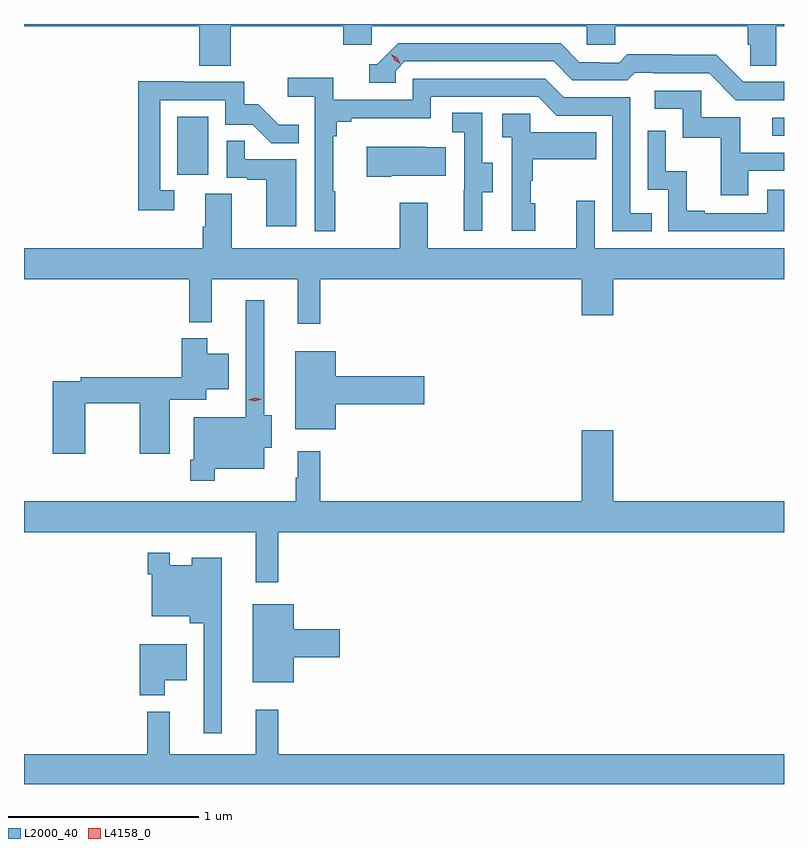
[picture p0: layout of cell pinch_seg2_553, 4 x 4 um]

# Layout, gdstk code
import gdstk
lib = gdstk.Library(unit=1e-6, precision=1e-09)
def R(c, l, rs):  # rectangles x0, y0, x1, y1
    for r in rs: c.add(gdstk.rectangle(r[:2], r[2:], *l))
def P(c, l, *ps):  # polygons
    for p in ps: c.add(gdstk.Polygon(p, *l))
L2000_40 = (2000, 40)
L4158_0 = (4158, 0)

pinch_seg2_553 = lib.new_cell('pinch_seg2_553')
R(pinch_seg2_553, L2000_40, [(1097.942,609.558,1098.106,609.865), (1101.075,609.765,1101.136,609.858)])
P(pinch_seg2_553, L2000_40, [(1098.224,610.34),(1098.815,610.34),(1098.815,610.242),(1098.966,610.242),(1098.966,610.34),(1100.097,610.34),(1100.097,610.242),(1100.247,610.242),(1100.247,610.34),(1100.945,610.34),(1100.945,610.242),(1100.959,610.242),(1100.959,610.132),(1101.096,610.132),(1101.096,610.34),(1101.136,610.34),(1101.136,610.352),(1097.136,610.352),(1097.136,610.34),(1098.059,610.34),(1098.059,610.132),(1098.224,610.132)],
  [(1101.136,610.047),(1100.922,610.047),(1100.78,610.189),(1100.544,610.189),(1100.544,610.192),(1100.311,610.192),(1100.269,610.149),(1100.166,610.149),(1100.166,610.152),(1100.059,610.152),(1099.96,610.251),(1099.107,610.251),(1098.996,610.14),(1098.953,610.14),(1098.953,610.044),(1099.092,610.044),(1099.092,610.107),(1099.14,610.155),(1099.923,610.155),(1100.022,610.056),(1100.311,610.056),(1100.35,610.095),(1100.449,610.095),(1100.449,610.092),(1100.742,610.092),(1100.883,609.951),(1101.136,609.951)],
  [(1098.775,609.473),(1098.763,609.473),(1098.763,609.761),(1098.782,609.761),(1098.782,609.838),(1098.859,609.838),(1098.859,609.857),(1099.278,609.857),(1099.278,609.969),(1099.842,609.969),(1099.941,609.87),(1100.232,609.87),(1100.232,609.261),(1100.441,609.261),(1100.441,609.357),(1100.328,609.357),(1100.328,609.966),(1099.978,609.966),(1099.879,610.065),(1099.182,610.065),(1099.182,609.954),(1098.764,609.954),(1098.764,610.07),(1098.525,610.07),(1098.525,609.968),(1098.666,609.968),(1098.666,609.261),(1098.775,609.261)],
  [(1097.926,609.477),(1097.853,609.477),(1097.853,609.951),(1098.195,609.951),(1098.195,609.822),(1098.339,609.822),(1098.437,609.724),(1098.581,609.724),(1098.581,609.823),(1098.477,609.823),(1098.37,609.93),(1098.294,609.93),(1098.294,610.047),(1097.975,610.047),(1097.975,610.052),(1097.737,610.052),(1097.737,609.372),(1097.926,609.372)],
  [(1100.947,609.579),(1101.136,609.579),(1101.136,609.675),(1100.905,609.675),(1100.905,609.861),(1100.7,609.861),(1100.7,610.002),(1100.457,610.002),(1100.457,609.906),(1100.604,609.906),(1100.604,609.753),(1100.803,609.753),(1100.803,609.45),(1100.947,609.45)],
  [(1099.549,609.466),(1099.603,609.466),(1099.603,609.621),(1099.548,609.621),(1099.548,609.884),(1099.389,609.884),(1099.389,609.781),(1099.452,609.781),(1099.452,609.477),(1099.451,609.477),(1099.451,609.264),(1099.549,609.264)],
  [(1099.828,609.408),(1099.803,609.408),(1099.803,609.527),(1099.813,609.527),(1099.813,609.641),(1100.147,609.641),(1100.147,609.781),(1099.8,609.781),(1099.8,609.879),(1099.653,609.879),(1099.653,609.755),(1099.704,609.755),(1099.704,609.264),(1099.828,609.264)],
  [(1101.136,609.48),(1101.048,609.48),(1101.048,609.357),(1100.719,609.357),(1100.719,609.37),(1100.624,609.37),(1100.624,609.578),(1100.514,609.578),(1100.514,609.79),(1100.418,609.79),(1100.418,609.48),(1100.526,609.48),(1100.526,609.261),(1101.136,609.261)],
  [(1098.568,609.639),(1098.299,609.639),(1098.299,609.737),(1098.204,609.737),(1098.204,609.543),(1098.311,609.543),(1098.311,609.531),(1098.41,609.531),(1098.41,609.288),(1098.568,609.288)],
  [(1099.069,609.554),(1099.355,609.554),(1099.355,609.703),(1099.247,609.703),(1099.247,609.706),(1098.941,609.706),(1098.941,609.547),(1099.069,609.547)],
  [(1098.695,609.008),(1100.072,609.008),(1100.072,608.82),(1100.236,608.82),(1100.236,609.008),(1101.136,609.008),(1101.136,609.172),(1100.139,609.172),(1100.139,609.421),(1100.042,609.421),(1100.042,609.172),(1099.261,609.172),(1099.261,609.412),(1099.114,609.412),(1099.114,609.172),(1098.229,609.172),(1098.229,609.458),(1098.089,609.458),(1098.089,609.284),(1098.077,609.284),(1098.077,609.172),(1097.136,609.172),(1097.136,609.008),(1098.007,609.008),(1098.007,608.783),(1098.125,608.783),(1098.125,609.008),(1098.578,609.008),(1098.578,608.775),(1098.695,608.775)],
  [(1098.139,608.012),(1098.4,608.012),(1098.4,608.123),(1098.439,608.123),(1098.439,608.294),(1098.4,608.294),(1098.4,608.899),(1098.303,608.899),(1098.303,608.281),(1098.03,608.281),(1098.03,608.059),(1098.01,608.059),(1098.01,607.947),(1098.139,607.947)],
  [(1097.458,608.356),(1097.744,608.356),(1097.744,608.091),(1097.902,608.091),(1097.902,608.375),(1098.094,608.375),(1098.094,608.429),(1098.214,608.429),(1098.214,608.617),(1098.1,608.617),(1098.1,608.698),(1097.966,608.698),(1097.966,608.492),(1097.434,608.492),(1097.434,608.472),(1097.288,608.472),(1097.288,608.091),(1097.458,608.091)],
  [(1098.778,608.351),(1099.243,608.351),(1099.243,608.498),(1098.778,608.498),(1098.778,608.629),(1098.563,608.629),(1098.563,608.219),(1098.778,608.219)],
  [(1098.473,607.676),(1101.136,607.676),(1101.136,607.84),(1100.236,607.84),(1100.236,608.215),(1100.072,608.215),(1100.072,607.84),(1098.695,607.84),(1098.695,608.104),(1098.578,608.104),(1098.578,607.964),(1098.567,607.964),(1098.567,607.84),(1097.136,607.84),(1097.136,607.676),(1098.356,607.676),(1098.356,607.413),(1098.473,607.413)],
  [(1098.178,607.543),(1098.02,607.543),(1098.02,607.504),(1097.904,607.504),(1097.904,607.57),(1097.788,607.57),(1097.788,607.457),(1097.808,607.457),(1097.808,607.235),(1098.008,607.235),(1098.008,607.199),(1098.081,607.199),(1098.081,606.618),(1098.178,606.618)],
  [(1098.556,607.019),(1098.799,607.019),(1098.799,607.166),(1098.556,607.166),(1098.556,607.297),(1098.341,607.297),(1098.341,606.887),(1098.556,606.887)],
  [(1097.878,606.899),(1097.992,606.899),(1097.992,607.087),(1097.744,607.087),(1097.744,606.818),(1097.878,606.818)],
  [(1101.136,606.508),(1098.473,606.508),(1098.473,606.742),(1098.356,606.742),(1098.356,606.508),(1097.903,606.508),(1097.903,606.733),(1097.785,606.733),(1097.785,606.508),(1097.136,606.508),(1097.136,606.352),(1101.136,606.352)])
P(pinch_seg2_553, L4158_0, [(1098.35,608.366),(1098.315,608.375),(1098.315,608.375),(1098.315,608.375),(1098.35,608.386),(1098.386,608.377),(1098.386,608.377),(1098.386,608.376)],
  [(1099.117,610.142),(1099.086,610.161),(1099.069,610.193),(1099.069,610.193),(1099.069,610.193),(1099.1,610.174),(1099.117,610.142),(1099.117,610.142)])

lib.write_gds('pinch_seg2_553.gds')
